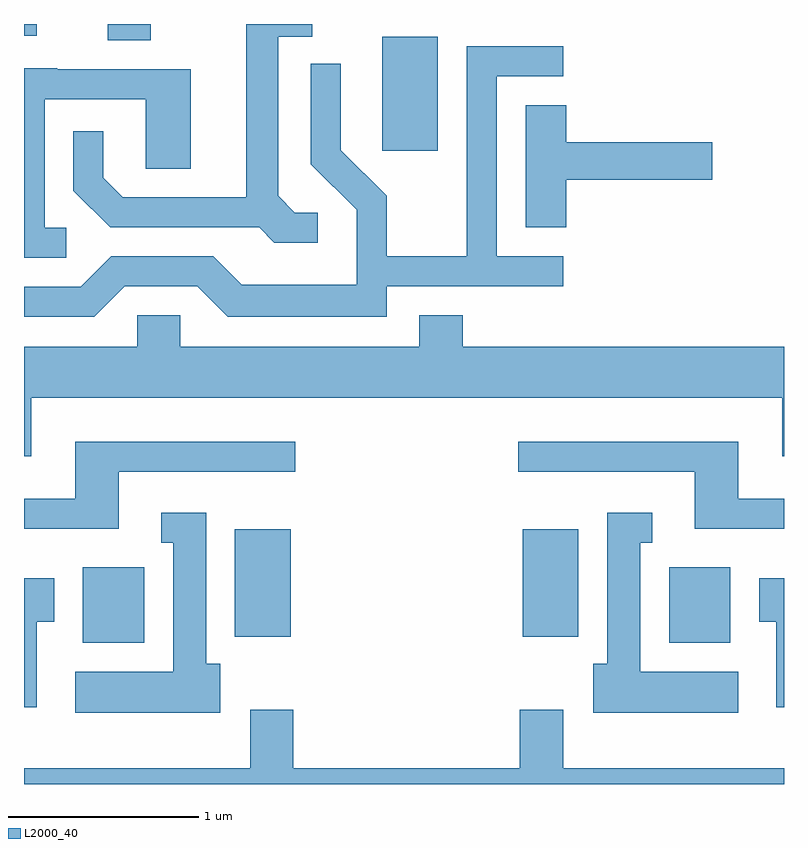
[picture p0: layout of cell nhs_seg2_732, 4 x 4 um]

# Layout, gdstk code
import gdstk
lib = gdstk.Library(unit=1e-6, precision=1e-09)
def R(c, l, rs):  # rectangles x0, y0, x1, y1
    for r in rs: c.add(gdstk.rectangle(r[:2], r[2:], *l))
def P(c, l, *ps):  # polygons
    for p in ps: c.add(gdstk.Polygon(p, *l))
L2000_40 = (2000, 40)

nhs_seg2_732 = lib.new_cell('nhs_seg2_732')
R(nhs_seg2_732, L2000_40, [(205.921,1082.546,206.244,1082.944), (209.006,1082.546,209.329,1082.944), (206.721,1082.576,207.014,1083.144), (208.236,1082.576,208.529,1083.144), (207.496,1085.136,207.789,1085.734), (206.051,1085.716,206.279,1085.802), (205.611,1085.741,205.678,1085.802)])
P(nhs_seg2_732, L2000_40, [(207.158,1084.809),(207.037,1084.809),(206.949,1084.897),(206.949,1085.736),(207.128,1085.736),(207.128,1085.802),(206.781,1085.802),(206.781,1084.889),(206.132,1084.889),(206.029,1084.992),(206.029,1085.238),(205.871,1085.238),(205.871,1084.924),(206.064,1084.731),(206.849,1084.731),(206.929,1084.651),(207.158,1084.651)],
  [(206.142,1084.421),(206.524,1084.421),(206.684,1084.261),(207.519,1084.261),(207.519,1084.421),(208.448,1084.421),(208.448,1084.579),(208.099,1084.579),(208.099,1085.526),(208.448,1085.526),(208.448,1085.684),(207.941,1085.684),(207.941,1084.579),(207.519,1084.579),(207.519,1084.897),(207.279,1085.137),(207.279,1085.593),(207.121,1085.593),(207.121,1085.064),(207.361,1084.824),(207.361,1084.429),(206.757,1084.429),(206.607,1084.579),(206.069,1084.579),(205.909,1084.419),(205.611,1084.419),(205.611,1084.261),(205.982,1084.261)],
  [(205.833,1084.729),(205.719,1084.729),(205.719,1085.406),(206.251,1085.406),(206.251,1085.041),(206.489,1085.041),(206.489,1085.564),(205.785,1085.564),(205.785,1085.569),(205.611,1085.569),(205.611,1084.571),(205.833,1084.571)],
  [(208.464,1084.981),(209.234,1084.981),(209.234,1085.179),(208.464,1085.179),(208.464,1085.374),(208.251,1085.374),(208.251,1084.731),(208.464,1084.731)],
  [(205.649,1083.836),(209.601,1083.836),(209.601,1083.526),(209.611,1083.526),(209.611,1084.104),(207.919,1084.104),(207.919,1084.269),(207.691,1084.269),(207.691,1084.104),(206.434,1084.104),(206.434,1084.269),(206.206,1084.269),(206.206,1084.104),(205.611,1084.104),(205.611,1083.526),(205.649,1083.526)],
  [(206.109,1083.446),(207.038,1083.446),(207.038,1083.604),(205.881,1083.604),(205.881,1083.304),(205.611,1083.304),(205.611,1083.146),(206.109,1083.146)],
  [(209.611,1083.304),(209.369,1083.304),(209.369,1083.604),(208.213,1083.604),(208.213,1083.446),(209.141,1083.446),(209.141,1083.146),(209.611,1083.146)],
  [(206.644,1082.434),(206.569,1082.434),(206.569,1083.229),(206.333,1083.229),(206.333,1083.071),(206.396,1083.071),(206.396,1082.394),(205.881,1082.394),(205.881,1082.176),(206.644,1082.176)],
  [(209.369,1082.394),(208.854,1082.394),(208.854,1083.071),(208.918,1083.071),(208.918,1083.229),(208.681,1083.229),(208.681,1082.434),(208.606,1082.434),(208.606,1082.176),(209.369,1082.176)],
  [(209.611,1082.884),(209.481,1082.884),(209.481,1082.656),(209.571,1082.656),(209.571,1082.206),(209.611,1082.206)],
  [(205.679,1082.656),(205.769,1082.656),(205.769,1082.884),(205.611,1082.884),(205.611,1082.206),(205.679,1082.206)],
  [(209.611,1081.884),(208.449,1081.884),(208.449,1082.194),(208.221,1082.194),(208.221,1081.884),(207.029,1081.884),(207.029,1082.194),(206.801,1082.194),(206.801,1081.884),(205.611,1081.884),(205.611,1081.802),(209.611,1081.802)])

lib.write_gds('nhs_seg2_732.gds')
